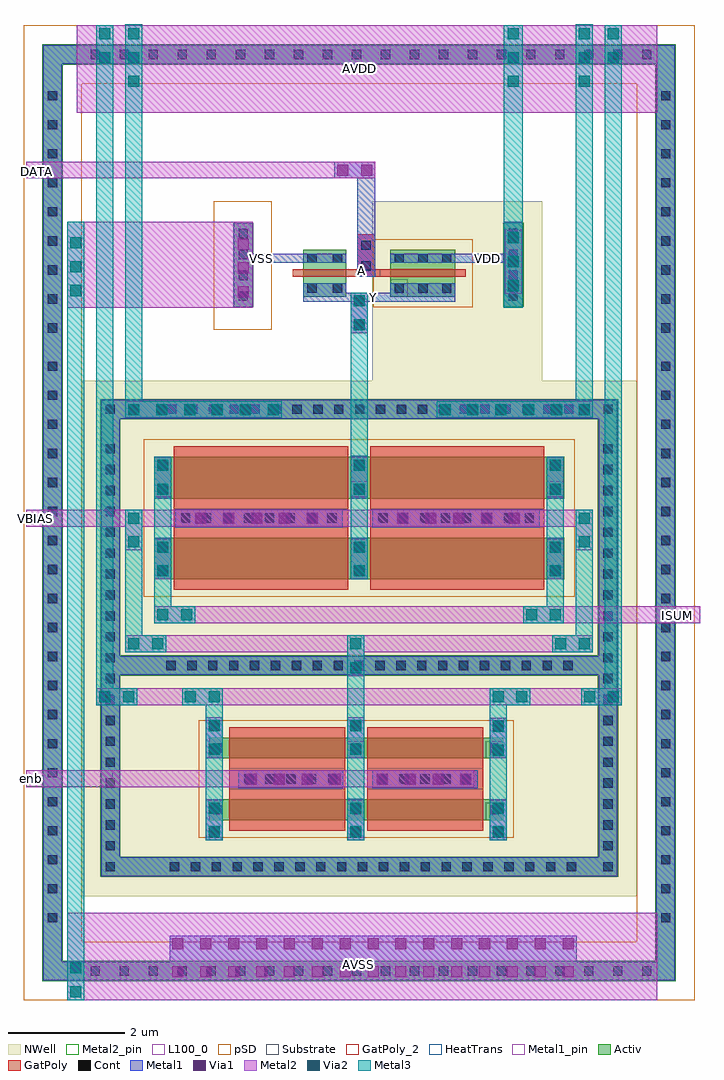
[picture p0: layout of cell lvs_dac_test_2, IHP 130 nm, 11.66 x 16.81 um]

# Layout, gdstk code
from math import pi, radians
import gdstk
lib = gdstk.Library(unit=1e-6, precision=1e-09)
def R(c, l, rs):  # rectangles x0, y0, x1, y1
    for r in rs: c.add(gdstk.rectangle(r[:2], r[2:], *l))
def A(c, l, x, y, w, h, nx, ny, dx, dy):  # array of equal rectangles
    R(c, l, [(x+i*dx, y+j*dy, x+i*dx+w, y+j*dy+h) for i in range(nx) for j in range(ny)])
Activ = (1, 0)
GatPoly = (5, 0)
GatPoly_2 = (5, 2)
Cont = (6, 0)
Metal1 = (8, 0)
Metal1_pin = (8, 2)
Metal2 = (10, 0)
Metal2_pin = (10, 2)
pSD = (14, 0)
Via1 = (19, 0)
Via2 = (29, 0)
Metal3 = (30, 0)
NWell = (31, 0)
Substrate = (40, 0)
HeatTrans = (51, 0)
L100_0 = (100, 0)

pmos = lib.new_cell('pmos')
R(pmos, Activ, [(0,0,0.3,0.3), (0,0,3.68,0.72), (3.38,0,3.68,0.3)])
R(pmos, GatPoly, [(0.34,-0.18,3.34,0.9), (0.34,-0.18,3.34,0.9)])
R(pmos, Cont, [(0.07,0.07,0.23,0.23), (3.45,0.07,3.61,0.23), (0.07,0.49,0.23,0.65), (3.45,0.49,3.61,0.65)])
R(pmos, Metal1, [(0.07,0,0.23,0.72), (0.07,0,0.23,0.72), (3.45,0,3.61,0.72), (3.45,0,3.61,0.72)])
R(pmos, pSD, [(-0.18,-0.3,3.86,1.02)])
R(pmos, NWell, [(-0.31,-0.31,3.99,1.03)])
R(pmos, Substrate, [(3.38,0,3.68,0.3)])
R(pmos, HeatTrans, [(0.34,-0.18,3.34,0.9)])
pmos.add(gdstk.Label('pmos', (1.84,0.36), layer=63, texttype=0))
pmos.add(gdstk.Label('pmos', (1.84,0.36), layer=51, texttype=0))

via_stack = lib.new_cell('via_stack')
R(via_stack, Metal1, [(-0.145,-0.35,0.145,0.35)])
R(via_stack, Metal2, [(-0.145,-0.35,0.145,0.35)])
R(via_stack, Via1, [(-0.095,-0.3,0.095,-0.11), (-0.095,0.11,0.095,0.3)])
R(via_stack, Via2, [(-0.095,-0.3,0.095,-0.11), (-0.095,0.11,0.095,0.3)])
R(via_stack, Metal3, [(-0.145,-0.35,0.145,0.35)])

via_stack_1 = lib.new_cell('via_stack$1')
R(via_stack_1, Metal1, [(-1.105,-0.145,1.105,0.145)])
R(via_stack_1, Metal2, [(-1.105,-0.145,1.105,0.145)])
A(via_stack_1, Via1, -1.055, -0.095, 0.19, 0.19, 5, 1, 0.48, 0)

pmos_1 = lib.new_cell('pmos$1')
R(pmos_1, Activ, [(0,0,0.3,0.3), (0,0,2.68,0.36), (2.38,0,2.68,0.3)])
R(pmos_1, GatPoly, [(0.34,-0.18,2.34,0.54), (0.34,-0.18,2.34,0.54)])
R(pmos_1, Cont, [(0.07,0.1,0.23,0.26), (2.45,0.1,2.61,0.26)])
R(pmos_1, Metal1, [(0.07,0,0.23,0.36), (0.07,0,0.23,0.36), (2.45,0,2.61,0.36), (2.45,0,2.61,0.36)])
R(pmos_1, pSD, [(-0.18,-0.3,2.86,0.66)])
R(pmos_1, NWell, [(-0.31,-0.31,2.99,0.67)])
R(pmos_1, Substrate, [(2.38,0,2.68,0.3)])
R(pmos_1, HeatTrans, [(0.34,-0.18,2.34,0.54)])
pmos_1.add(gdstk.Label('pmos', (1.34,0.18), layer=63, texttype=0))
pmos_1.add(gdstk.Label('pmos', (1.34,0.18), layer=51, texttype=0))

via_stack_2 = lib.new_cell('via_stack$2')
R(via_stack_2, Metal1, [(-0.865,-0.145,0.865,0.145)])
R(via_stack_2, Metal2, [(-0.865,-0.145,0.865,0.145)])
A(via_stack_2, Via1, -0.815, -0.095, 0.19, 0.19, 4, 1, 0.48, 0)

via_stack_3 = lib.new_cell('via_stack$3')
R(via_stack_3, Metal2, [(-0.145,-0.35,0.145,0.35)])
R(via_stack_3, Via2, [(-0.095,-0.3,0.095,-0.11), (-0.095,0.11,0.095,0.3)])
R(via_stack_3, Metal3, [(-0.145,-0.35,0.145,0.35)])

via_stack_4 = lib.new_cell('via_stack$4')
R(via_stack_4, Metal2, [(-0.35,-0.145,0.35,0.145)])
R(via_stack_4, Via2, [(-0.3,-0.095,-0.11,0.095), (0.11,-0.095,0.3,0.095)])
R(via_stack_4, Metal3, [(-0.35,-0.145,0.35,0.145)])

via_stack_10 = lib.new_cell('via_stack$10')
R(via_stack_10, Metal2, [(-0.145,-0.555,0.145,0.555)])
A(via_stack_10, Via2, -0.095, -0.505, 0.19, 0.19, 1, 3, 0, 0.41)
R(via_stack_10, Metal3, [(-0.145,-0.555,0.145,0.555)])

via_stack_5 = lib.new_cell('via_stack$5')
R(via_stack_5, Metal1, [(-0.145,-0.555,0.145,0.555)])
R(via_stack_5, Metal2, [(-0.145,-0.555,0.145,0.555)])
A(via_stack_5, Via1, -0.095, -0.505, 0.19, 0.19, 1, 3, 0, 0.41)
A(via_stack_5, Via2, -0.095, -0.505, 0.19, 0.19, 1, 3, 0, 0.41)
R(via_stack_5, Metal3, [(-0.145,-0.555,0.145,0.555)])

via_stack_6 = lib.new_cell('via_stack$6')
R(via_stack_6, Metal1, [(-0.145,-0.555,0.145,0.555)])
R(via_stack_6, Metal2, [(-0.145,-0.555,0.145,0.555)])
A(via_stack_6, Via1, -0.095, -0.505, 0.19, 0.19, 1, 3, 0, 0.41)

via_stack_7 = lib.new_cell('via_stack$7')
R(via_stack_7, Metal2, [(-0.145,-0.555,0.145,0.555)])
A(via_stack_7, Via2, -0.095, -0.505, 0.19, 0.19, 1, 3, 0, 0.41)
R(via_stack_7, Metal3, [(-0.145,-0.555,0.145,0.555)])

via_stack_8 = lib.new_cell('via_stack$8')
R(via_stack_8, Metal1, [(-0.35,-0.145,0.35,0.145)])
R(via_stack_8, Metal2, [(-0.35,-0.145,0.35,0.145)])
R(via_stack_8, Via1, [(-0.3,-0.095,-0.11,0.095), (0.11,-0.095,0.3,0.095)])

pmos_2 = lib.new_cell('pmos$2')
R(pmos_2, Activ, [(0,0,0.3,0.3), (0,0,0.81,1.12), (0.51,0,0.81,0.3)])
R(pmos_2, GatPoly, [(0.34,-0.18,0.47,1.3), (0.34,-0.18,0.47,1.3)])
A(pmos_2, Cont, 0.07, 0.07, 0.16, 0.16, 1, 3, 0, 0.41)
A(pmos_2, Cont, 0.58, 0.07, 0.16, 0.16, 1, 3, 0, 0.41)
R(pmos_2, Metal1, [(0.07,0,0.23,1.12), (0.07,0,0.23,1.12), (0.58,0,0.74,1.12), (0.58,0,0.74,1.12)])
R(pmos_2, pSD, [(-0.18,-0.3,0.99,1.42)])
R(pmos_2, NWell, [(-0.31,-0.31,1.12,1.43)])
R(pmos_2, Substrate, [(0.51,0,0.81,0.3)])
R(pmos_2, HeatTrans, [(0.34,-0.18,0.47,1.3)])
pmos_2.add(gdstk.Label('pmos', (0.405,0.56), layer=63, texttype=0))
pmos_2.add(gdstk.Label('pmos', (0.405,0.56), layer=51, texttype=0))

nmos = lib.new_cell('nmos')
R(nmos, Activ, [(0,0,0.3,0.3), (0,0,0.81,0.74), (0.51,0,0.81,0.3)])
R(nmos, GatPoly, [(0.34,-0.18,0.47,0.92)])
R(nmos, GatPoly_2, [(0.34,-0.18,0.47,0.92)])
R(nmos, Cont, [(0.07,0.07,0.23,0.23), (0.58,0.07,0.74,0.23), (0.07,0.51,0.23,0.67), (0.58,0.51,0.74,0.67)])
R(nmos, Metal1, [(0.07,0,0.23,0.74), (0.58,0,0.74,0.74)])
R(nmos, Metal1_pin, [(0.07,0,0.23,0.74), (0.58,0,0.74,0.74)])
R(nmos, HeatTrans, [(0.34,-0.18,0.47,0.92)])
nmos.add(gdstk.Label('nmos', (0.405,0.37), layer=63, texttype=0))
nmos.add(gdstk.Label('nmos', (0.405,0.37), layer=51, texttype=0))

via_stack_9 = lib.new_cell('via_stack$9')
R(via_stack_9, Metal1, [(-1.345,-0.145,1.345,0.145)])
R(via_stack_9, Metal2, [(-1.345,-0.145,1.345,0.145)])
A(via_stack_9, Via1, -1.295, -0.095, 0.19, 0.19, 6, 1, 0.48, 0)
A(via_stack_9, Via2, -1.295, -0.095, 0.19, 0.19, 6, 1, 0.48, 0)
R(via_stack_9, Metal3, [(-1.345,-0.145,1.345,0.145)])

via_stack_11 = lib.new_cell('via_stack$11')
R(via_stack_11, Metal1, [(-3.505,-0.385,3.505,0.385)])
R(via_stack_11, Metal2, [(-3.505,-0.385,3.505,0.385)])
A(via_stack_11, Via1, -3.455, -0.335, 0.19, 0.19, 15, 2, 0.48, 0.48)

lvs_dac_test_2 = lib.new_cell('lvs_dac_test_2')
A(lvs_dac_test_2, Activ, 10.53, 0.061, 0.35, 0.37, 1, 3, 0, 0.36)
R(lvs_dac_test_2, Activ, [(3.59,-9.76,5.055,-9.41), (4.685,-9.76,5.055,-9.41), (5.045,-9.76,5.415,-9.41), (5.045,-9.76,5.415,-9.41), (5.405,-9.76,5.775,-9.41), (5.405,-9.76,5.775,-9.41), (5.765,-9.76,6.135,-9.41), (5.765,-9.76,6.135,-9.41), (6.125,-9.76,6.495,-9.41), (6.125,-9.76,6.495,-9.41), (6.485,-9.76,6.855,-9.41), (6.485,-9.76,6.855,-9.41), (6.845,-9.76,7.215,-9.41), (6.845,-9.76,7.215,-9.41), (7.205,-9.76,7.575,-9.41), (7.205,-9.76,7.575,-9.41), (7.565,-9.76,7.935,-9.41), (7.565,-9.76,7.935,-9.41), (7.925,-9.76,8.295,-9.41), (7.925,-9.76,8.295,-9.41), (8.285,-9.76,8.655,-9.41), (8.285,-9.76,8.655,-9.41), (8.645,-9.76,9.015,-9.41), (8.645,-9.76,9.015,-9.41), (9.005,-9.76,9.375,-9.41), (9.005,-9.76,9.375,-9.41), (9.365,-9.76,9.735,-9.41), (9.365,-9.76,9.735,-9.41), (9.725,-9.76,10.095,-9.41), (9.725,-9.76,10.095,-9.41), (10.085,-9.76,10.455,-9.41), (10.085,-9.76,10.455,-9.41), (10.445,-9.76,10.815,-9.41), (10.445,-9.76,10.815,-9.41), (10.805,-9.76,11.175,-9.41), (10.805,-9.76,11.175,-9.41), (11.165,-9.76,11.535,-9.41), (11.165,-9.76,11.535,-9.41), (11.525,-9.76,11.895,-9.41), (11.525,-9.76,12.51,-9.41), (3.94,-6.295,4.995,-5.945), (4.625,-6.295,4.995,-5.945), (4.985,-6.295,5.355,-5.945), (4.985,-6.295,5.355,-5.945), (5.345,-6.295,5.715,-5.945), (5.345,-6.295,5.715,-5.945), (5.705,-6.295,6.075,-5.945), (5.705,-6.295,6.075,-5.945), (6.065,-6.295,6.435,-5.945), (6.065,-6.295,6.435,-5.945), (6.425,-6.295,6.795,-5.945), (6.425,-6.295,6.795,-5.945), (6.785,-6.295,7.155,-5.945), (6.785,-6.295,7.155,-5.945), (7.145,-6.295,7.515,-5.945), (7.145,-6.295,7.515,-5.945), (7.505,-6.295,7.875,-5.945), (7.505,-6.295,7.875,-5.945), (7.865,-6.295,8.235,-5.945), (7.865,-6.295,8.235,-5.945), (8.225,-6.295,8.595,-5.945), (8.225,-6.295,8.595,-5.945), (8.585,-6.295,8.955,-5.945), (8.585,-6.295,8.955,-5.945), (8.945,-6.295,9.315,-5.945), (8.945,-6.295,9.315,-5.945), (9.305,-6.295,9.675,-5.945), (9.305,-6.295,9.675,-5.945), (9.665,-6.295,10.035,-5.945), (9.665,-6.295,10.035,-5.945), (10.025,-6.295,10.395,-5.945), (10.025,-6.295,10.395,-5.945), (10.385,-6.295,10.755,-5.945), (10.385,-6.295,10.755,-5.945), (10.745,-6.295,11.115,-5.945), (10.745,-6.295,11.115,-5.945), (11.105,-6.295,11.475,-5.945), (11.105,-6.295,11.475,-5.945), (11.465,-6.295,11.835,-5.945), (11.465,-6.295,12.51,-5.945), (3.59,-1.88,5.005,-1.53), (4.635,-1.88,5.005,-1.53), (4.995,-1.88,5.365,-1.53), (4.995,-1.88,5.365,-1.53), (5.355,-1.88,5.725,-1.53), (5.355,-1.88,5.725,-1.53), (5.715,-1.88,6.085,-1.53), (5.715,-1.88,6.085,-1.53), (6.075,-1.88,6.445,-1.53), (6.075,-1.88,6.445,-1.53), (6.435,-1.88,6.805,-1.53), (6.435,-1.88,6.805,-1.53), (6.795,-1.88,7.165,-1.53), (6.795,-1.88,7.165,-1.53), (7.155,-1.88,7.525,-1.53), (7.155,-1.88,7.525,-1.53), (7.515,-1.88,7.885,-1.53), (7.515,-1.88,7.885,-1.53), (7.875,-1.88,8.245,-1.53), (7.875,-1.88,8.245,-1.53), (8.235,-1.88,8.605,-1.53), (8.235,-1.88,8.605,-1.53), (8.595,-1.88,8.965,-1.53), (8.595,-1.88,8.965,-1.53), (8.955,-1.88,9.325,-1.53), (8.955,-1.88,9.325,-1.53), (9.315,-1.88,9.685,-1.53), (9.315,-1.88,9.685,-1.53), (9.675,-1.88,10.045,-1.53), (9.675,-1.88,10.045,-1.53), (10.035,-1.88,10.405,-1.53), (10.035,-1.88,10.405,-1.53), (10.395,-1.88,10.765,-1.53), (10.395,-1.88,10.765,-1.53), (10.755,-1.88,11.125,-1.53), (10.755,-1.88,11.125,-1.53), (11.115,-1.88,11.485,-1.53), (11.115,-1.88,11.485,-1.53), (11.475,-1.88,11.845,-1.53), (11.475,-1.88,12.51,-1.53), (5.88,0.05,6.23,0.426), (10.53,0.06,10.885,1.51), (5.88,0.416,6.23,0.786), (5.88,0.776,6.23,1.146), (5.88,1.136,6.23,1.5)])
A(lvs_dac_test_2, GatPoly, 5.97, -8.23, 0.37, 0.31, 5, 1, 0.36, 0)
A(lvs_dac_test_2, GatPoly, 8.28, -8.23, 0.37, 0.31, 5, 1, 0.36, 0)
A(lvs_dac_test_2, GatPoly, 4.88, -3.735, 0.37, 0.31, 8, 1, 0.36, 0)
A(lvs_dac_test_2, GatPoly, 8.275, -3.735, 0.37, 0.31, 8, 1, 0.36, 0)
R(lvs_dac_test_2, GatPoly, [(5.81,-8.245,7.81,-7.9), (8.19,-8.245,10.19,-7.9), (4.86,-3.735,7.86,-3.425), (8.24,-3.735,11.24,-3.425), (8.015,0.576,8.325,0.946), (8.015,0.936,8.325,1.31)])
R(lvs_dac_test_2, GatPoly_2, [(6.91,0.575,9.889,0.705)])
A(lvs_dac_test_2, Cont, 3.425, -11.46, 0.16, 0.16, 20, 2, 0.5, 15.785)
A(lvs_dac_test_2, Cont, 2.69, -10.545, 0.16, 0.16, 1, 20, 0, 0.5)
A(lvs_dac_test_2, Cont, 13.25, -10.545, 0.16, 0.16, 1, 20, 0, 0.5)
A(lvs_dac_test_2, Cont, 3.685, -9.665, 0.16, 0.16, 1, 21, 0, 0.36)
A(lvs_dac_test_2, Cont, 12.255, -9.665, 0.16, 0.16, 1, 21, 0, 0.36)
A(lvs_dac_test_2, Cont, 6.075, -8.155, 0.16, 0.16, 5, 1, 0.36, 0)
A(lvs_dac_test_2, Cont, 8.385, -8.155, 0.16, 0.16, 5, 1, 0.36, 0)
A(lvs_dac_test_2, Cont, 4.985, -3.66, 0.16, 0.16, 8, 1, 0.36, 0)
A(lvs_dac_test_2, Cont, 8.38, -3.66, 0.16, 0.16, 8, 1, 0.36, 0)
A(lvs_dac_test_2, Cont, 2.69, -0.385, 0.16, 0.16, 1, 9, 0, 0.5)
A(lvs_dac_test_2, Cont, 13.25, -0.385, 0.16, 0.16, 1, 9, 0, 0.5)
A(lvs_dac_test_2, Cont, 5.975, 0.16, 0.16, 0.16, 1, 4, 0, 0.36)
A(lvs_dac_test_2, Cont, 10.625, 0.165, 0.16, 0.16, 1, 4, 0, 0.36)
R(lvs_dac_test_2, Cont, [(4.79,-9.665,4.95,-9.505), (4.79,-9.665,4.95,-9.505), (5.15,-9.665,5.31,-9.505), (5.15,-9.665,5.31,-9.505), (5.51,-9.665,5.67,-9.505), (5.51,-9.665,5.67,-9.505), (5.87,-9.665,6.03,-9.505), (5.87,-9.665,6.03,-9.505), (6.23,-9.665,6.39,-9.505), (6.23,-9.665,6.39,-9.505), (6.59,-9.665,6.75,-9.505), (6.59,-9.665,6.75,-9.505), (6.95,-9.665,7.11,-9.505), (6.95,-9.665,7.11,-9.505), (7.31,-9.665,7.47,-9.505), (7.31,-9.665,7.47,-9.505), (7.67,-9.665,7.83,-9.505), (7.67,-9.665,7.83,-9.505), (8.03,-9.665,8.19,-9.505), (8.03,-9.665,8.19,-9.505), (8.39,-9.665,8.55,-9.505), (8.39,-9.665,8.55,-9.505), (8.75,-9.665,8.91,-9.505), (8.75,-9.665,8.91,-9.505), (9.11,-9.665,9.27,-9.505), (9.11,-9.665,9.27,-9.505), (9.47,-9.665,9.63,-9.505), (9.47,-9.665,9.63,-9.505), (9.83,-9.665,9.99,-9.505), (9.83,-9.665,9.99,-9.505), (10.19,-9.665,10.35,-9.505), (10.19,-9.665,10.35,-9.505), (10.55,-9.665,10.71,-9.505), (10.55,-9.665,10.71,-9.505), (10.91,-9.665,11.07,-9.505), (10.91,-9.665,11.07,-9.505), (11.27,-9.665,11.43,-9.505), (11.27,-9.665,11.43,-9.505), (11.63,-9.665,11.79,-9.505), (11.63,-9.665,11.79,-9.505), (12.255,-9.665,12.415,-9.505), (12.255,-9.665,12.415,-9.505), (4.73,-6.2,4.89,-6.04), (4.73,-6.2,4.89,-6.04), (5.09,-6.2,5.25,-6.04), (5.09,-6.2,5.25,-6.04), (5.45,-6.2,5.61,-6.04), (5.45,-6.2,5.61,-6.04), (5.81,-6.2,5.97,-6.04), (5.81,-6.2,5.97,-6.04), (6.17,-6.2,6.33,-6.04), (6.17,-6.2,6.33,-6.04), (6.53,-6.2,6.69,-6.04), (6.53,-6.2,6.69,-6.04), (6.89,-6.2,7.05,-6.04), (6.89,-6.2,7.05,-6.04), (7.25,-6.2,7.41,-6.04), (7.25,-6.2,7.41,-6.04), (7.61,-6.2,7.77,-6.04), (7.61,-6.2,7.77,-6.04), (7.97,-6.2,8.13,-6.04), (7.97,-6.2,8.13,-6.04), (8.33,-6.2,8.49,-6.04), (8.33,-6.2,8.49,-6.04), (8.69,-6.2,8.85,-6.04), (8.69,-6.2,8.85,-6.04), (9.05,-6.2,9.21,-6.04), (9.05,-6.2,9.21,-6.04), (9.41,-6.2,9.57,-6.04), (9.41,-6.2,9.57,-6.04), (9.77,-6.2,9.93,-6.04), (9.77,-6.2,9.93,-6.04), (10.13,-6.2,10.29,-6.04), (10.13,-6.2,10.29,-6.04), (10.49,-6.2,10.65,-6.04), (10.49,-6.2,10.65,-6.04), (10.85,-6.2,11.01,-6.04), (10.85,-6.2,11.01,-6.04), (11.21,-6.2,11.37,-6.04), (11.21,-6.2,11.37,-6.04), (11.57,-6.2,11.73,-6.04), (11.57,-6.2,11.73,-6.04), (3.685,-1.785,3.845,-1.625), (4.74,-1.785,4.9,-1.625), (4.74,-1.785,4.9,-1.625), (5.1,-1.785,5.26,-1.625), (5.1,-1.785,5.26,-1.625), (5.46,-1.785,5.62,-1.625), (5.46,-1.785,5.62,-1.625), (5.82,-1.785,5.98,-1.625), (5.82,-1.785,5.98,-1.625), (6.18,-1.785,6.34,-1.625), (6.18,-1.785,6.34,-1.625), (6.54,-1.785,6.7,-1.625), (6.54,-1.785,6.7,-1.625), (6.9,-1.785,7.06,-1.625), (6.9,-1.785,7.06,-1.625), (7.26,-1.785,7.42,-1.625), (7.26,-1.785,7.42,-1.625), (7.62,-1.785,7.78,-1.625), (7.62,-1.785,7.78,-1.625), (7.98,-1.785,8.14,-1.625), (7.98,-1.785,8.14,-1.625), (8.34,-1.785,8.5,-1.625), (8.34,-1.785,8.5,-1.625), (8.7,-1.785,8.86,-1.625), (8.7,-1.785,8.86,-1.625), (9.06,-1.785,9.22,-1.625), (9.06,-1.785,9.22,-1.625), (9.42,-1.785,9.58,-1.625), (9.42,-1.785,9.58,-1.625), (9.78,-1.785,9.94,-1.625), (9.78,-1.785,9.94,-1.625), (10.14,-1.785,10.3,-1.625), (10.14,-1.785,10.3,-1.625), (10.5,-1.785,10.66,-1.625), (10.5,-1.785,10.66,-1.625), (10.86,-1.785,11.02,-1.625), (10.86,-1.785,11.02,-1.625), (11.22,-1.785,11.38,-1.625), (11.22,-1.785,11.38,-1.625), (11.58,-1.785,11.74,-1.625), (11.58,-1.785,11.74,-1.625), (12.26,-1.785,12.42,-1.625), (8.09,0.68,8.25,0.84), (8.09,1.04,8.25,1.2)])
A(lvs_dac_test_2, Metal1, 5.97, -8.23, 0.37, 0.31, 5, 1, 0.36, 0)
A(lvs_dac_test_2, Metal1, 8.28, -8.23, 0.37, 0.31, 5, 1, 0.36, 0)
A(lvs_dac_test_2, Metal1, 4.525, -3.935, 0.29, 0.02, 3, 2, 3.38, 0.69)
A(lvs_dac_test_2, Metal1, 4.88, -3.735, 0.37, 0.31, 8, 1, 0.36, 0)
A(lvs_dac_test_2, Metal1, 8.275, -3.735, 0.37, 0.31, 8, 1, 0.36, 0)
R(lvs_dac_test_2, Metal1, [(3.605,-9.745,5.07,-9.425), (4.67,-9.745,5.07,-9.425), (5.03,-9.745,5.43,-9.425), (5.03,-9.745,5.43,-9.425), (5.39,-9.745,5.79,-9.425), (5.39,-9.745,5.79,-9.425), (5.75,-9.745,6.15,-9.425), (5.75,-9.745,6.15,-9.425), (6.11,-9.745,6.51,-9.425), (6.11,-9.745,6.51,-9.425), (6.47,-9.745,6.87,-9.425), (6.47,-9.745,6.87,-9.425), (6.83,-9.745,7.23,-9.425), (6.83,-9.745,7.23,-9.425), (7.19,-9.745,7.59,-9.425), (7.19,-9.745,7.59,-9.425), (7.55,-9.745,7.95,-9.425), (7.55,-9.745,7.95,-9.425), (7.91,-9.745,8.31,-9.425), (7.91,-9.745,8.31,-9.425), (8.27,-9.745,8.67,-9.425), (8.27,-9.745,8.67,-9.425), (8.63,-9.745,9.03,-9.425), (8.63,-9.745,9.03,-9.425), (8.99,-9.745,9.39,-9.425), (8.99,-9.745,9.39,-9.425), (9.35,-9.745,9.75,-9.425), (9.35,-9.745,9.75,-9.425), (9.71,-9.745,10.11,-9.425), (9.71,-9.745,10.11,-9.425), (10.07,-9.745,10.47,-9.425), (10.07,-9.745,10.47,-9.425), (10.43,-9.745,10.83,-9.425), (10.43,-9.745,10.83,-9.425), (10.79,-9.745,11.19,-9.425), (10.79,-9.745,11.19,-9.425), (11.15,-9.745,11.55,-9.425), (11.15,-9.745,11.55,-9.425), (11.51,-9.745,11.91,-9.425), (11.51,-9.745,12.495,-9.425), (5.41,-8.43,5.7,-8.425), (7.85,-8.43,8.14,-8.41), (10.3,-8.43,10.59,-8.425), (5.41,-7.72,5.7,-7.71), (7.85,-7.72,8.14,-7.7), (3.925,-6.28,5.01,-5.96), (4.61,-6.28,5.01,-5.96), (4.97,-6.28,5.37,-5.96), (4.97,-6.28,5.37,-5.96), (5.33,-6.28,5.73,-5.96), (5.33,-6.28,5.73,-5.96), (5.69,-6.28,6.09,-5.96), (5.69,-6.28,6.09,-5.96), (6.05,-6.28,6.45,-5.96), (6.05,-6.28,6.45,-5.96), (6.41,-6.28,6.81,-5.96), (6.41,-6.28,6.81,-5.96), (6.77,-6.28,7.17,-5.96), (6.77,-6.28,7.17,-5.96), (7.13,-6.28,7.53,-5.96), (7.13,-6.28,7.53,-5.96), (7.49,-6.28,7.89,-5.96), (7.49,-6.28,7.89,-5.96), (7.85,-6.28,8.25,-5.96), (7.85,-6.28,8.25,-5.96), (8.21,-6.28,8.61,-5.96), (8.21,-6.28,8.61,-5.96), (8.57,-6.28,8.97,-5.96), (8.57,-6.28,8.97,-5.96), (8.93,-6.28,9.33,-5.96), (8.93,-6.28,9.33,-5.96), (9.29,-6.28,9.69,-5.96), (9.29,-6.28,9.69,-5.96), (9.65,-6.28,10.05,-5.96), (9.65,-6.28,10.05,-5.96), (10.01,-6.28,10.41,-5.96), (10.01,-6.28,10.41,-5.96), (10.37,-6.28,10.77,-5.96), (10.37,-6.28,10.77,-5.96), (10.73,-6.28,11.13,-5.96), (10.73,-6.28,11.13,-5.96), (11.09,-6.28,11.49,-5.96), (11.09,-6.28,11.49,-5.96), (11.45,-6.28,11.85,-5.96), (11.45,-6.28,12.175,-5.96), (4.525,-2.545,4.815,-2.525), (7.905,-2.525,8.195,-2.505), (3.605,-1.865,5.02,-1.545), (4.62,-1.865,5.02,-1.545), (4.98,-1.865,5.38,-1.545), (4.98,-1.865,5.38,-1.545), (5.34,-1.865,5.74,-1.545), (5.34,-1.865,5.74,-1.545), (5.7,-1.865,6.1,-1.545), (5.7,-1.865,6.1,-1.545), (6.06,-1.865,6.46,-1.545), (6.06,-1.865,6.46,-1.545), (6.42,-1.865,6.82,-1.545), (6.42,-1.865,6.82,-1.545), (6.78,-1.865,7.18,-1.545), (6.78,-1.865,7.18,-1.545), (7.14,-1.865,7.54,-1.545), (7.14,-1.865,7.54,-1.545), (7.5,-1.865,7.9,-1.545), (7.5,-1.865,7.9,-1.545), (7.86,-1.865,8.26,-1.545), (7.86,-1.865,8.26,-1.545), (8.22,-1.865,8.62,-1.545), (8.22,-1.865,8.62,-1.545), (8.58,-1.865,8.98,-1.545), (8.58,-1.865,8.98,-1.545), (8.94,-1.865,9.34,-1.545), (8.94,-1.865,9.34,-1.545), (9.3,-1.865,9.7,-1.545), (9.3,-1.865,9.7,-1.545), (9.66,-1.865,10.06,-1.545), (9.66,-1.865,10.06,-1.545), (10.02,-1.865,10.42,-1.545), (10.02,-1.865,10.42,-1.545), (10.38,-1.865,10.78,-1.545), (10.38,-1.865,10.78,-1.545), (10.74,-1.865,11.14,-1.545), (10.74,-1.865,11.14,-1.545), (11.1,-1.865,11.5,-1.545), (11.1,-1.865,11.5,-1.545), (11.46,-1.865,11.86,-1.545), (11.46,-1.865,12.495,-1.545), (5.895,0.04,6.215,0.441), (5.895,0.04,6.22,1.52), (10.545,0.045,10.865,0.446), (7.09,0.145,9.71,0.305), (5.895,0.401,6.215,0.801), (10.545,0.406,10.865,0.806), (8.015,0.575,8.325,0.946), (5.895,0.761,6.215,1.161), (10.545,0.766,10.865,1.166), (10.47,0.815,10.865,0.975), (8.015,0.936,8.325,1.31), (10.545,1.126,10.865,1.525)])
R(lvs_dac_test_2, Metal1_pin, [(7.09,0.145,9.71,0.305), (7.09,0.145,9.71,0.305), (6.345,0.815,7.829,0.975), (8.59,0.815,10.475,0.975)])
R(lvs_dac_test_2, Metal2, [(3.025,-11.88,13.185,-10.38), (3.025,0.04,6.22,1.52), (3.185,3.405,13.185,4.905)])
R(lvs_dac_test_2, Metal2_pin, [(3.025,-11.88,13.185,-10.38), (2.315,-8.21,3.805,-7.92), (12.44,-5.39,13.93,-5.1), (2.315,-3.725,3.805,-3.435), (2.315,2.27,2.935,2.56), (3.185,3.405,13.185,4.905)])
R(lvs_dac_test_2, pSD, [(5.29,-9.085,10.71,-7.06), (4.34,-4.935,11.76,-2.225), (5.545,-0.335,6.545,0.796), (5.545,0.026,6.545,1.156), (5.545,0.386,6.545,1.516), (5.545,0.746,6.545,1.88)])
R(lvs_dac_test_2, NWell, [(3.27,-10.095,12.83,-1.215), (4.315,-10.095,5.445,-9.095), (4.315,-10.095,5.445,-9.095), (4.675,-10.095,5.805,-9.095), (4.675,-10.095,5.805,-9.095), (5.035,-10.095,6.165,-9.095), (5.035,-10.095,6.165,-9.095), (5.395,-10.095,6.525,-9.095), (5.395,-10.095,6.525,-9.095), (5.755,-10.095,6.885,-9.095), (5.755,-10.095,6.885,-9.095), (6.115,-10.095,7.245,-9.095), (6.115,-10.095,7.245,-9.095), (6.475,-10.095,7.605,-9.095), (6.475,-10.095,7.605,-9.095), (6.835,-10.095,7.965,-9.095), (6.835,-10.095,7.965,-9.095), (7.195,-10.095,8.325,-9.095), (7.195,-10.095,8.325,-9.095), (7.555,-10.095,8.685,-9.095), (7.555,-10.095,8.685,-9.095), (7.915,-10.095,9.045,-9.095), (7.915,-10.095,9.045,-9.095), (8.275,-10.095,9.405,-9.095), (8.275,-10.095,9.405,-9.095), (8.635,-10.095,9.765,-9.095), (8.635,-10.095,9.765,-9.095), (8.995,-10.095,10.125,-9.095), (8.995,-10.095,10.125,-9.095), (9.355,-10.095,10.485,-9.095), (9.355,-10.095,10.485,-9.095), (9.715,-10.095,10.845,-9.095), (9.715,-10.095,10.845,-9.095), (10.075,-10.095,11.205,-9.095), (10.075,-10.095,11.205,-9.095), (10.435,-10.095,11.565,-9.095), (10.435,-10.095,11.565,-9.095), (10.795,-10.095,11.925,-9.095), (10.795,-10.095,11.925,-9.095), (11.155,-10.095,12.285,-9.095), (11.155,-10.095,12.285,-9.095), (5.16,-9.095,10.84,-7.05), (4.255,-6.63,5.385,-5.63), (4.255,-6.63,5.385,-5.63), (4.615,-6.63,5.745,-5.63), (4.615,-6.63,5.745,-5.63), (4.975,-6.63,6.105,-5.63), (4.975,-6.63,6.105,-5.63), (5.335,-6.63,6.465,-5.63), (5.335,-6.63,6.465,-5.63), (5.695,-6.63,6.825,-5.63), (5.695,-6.63,6.825,-5.63), (6.055,-6.63,7.185,-5.63), (6.055,-6.63,7.185,-5.63), (6.415,-6.63,7.545,-5.63), (6.415,-6.63,7.545,-5.63), (6.775,-6.63,7.905,-5.63), (6.775,-6.63,7.905,-5.63), (7.135,-6.63,8.265,-5.63), (7.135,-6.63,8.265,-5.63), (7.495,-6.63,8.625,-5.63), (7.495,-6.63,8.625,-5.63), (7.855,-6.63,8.985,-5.63), (7.855,-6.63,8.985,-5.63), (8.215,-6.63,9.345,-5.63), (8.215,-6.63,9.345,-5.63), (8.575,-6.63,9.705,-5.63), (8.575,-6.63,9.705,-5.63), (8.935,-6.63,10.065,-5.63), (8.935,-6.63,10.065,-5.63), (9.295,-6.63,10.425,-5.63), (9.295,-6.63,10.425,-5.63), (9.655,-6.63,10.785,-5.63), (9.655,-6.63,10.785,-5.63), (10.015,-6.63,11.145,-5.63), (10.015,-6.63,11.145,-5.63), (10.375,-6.63,11.505,-5.63), (10.375,-6.63,11.505,-5.63), (10.735,-6.63,11.865,-5.63), (10.735,-6.63,11.865,-5.63), (11.095,-6.63,12.225,-5.63), (11.095,-6.63,12.225,-5.63), (4.21,-4.945,11.89,-2.215), (4.265,-2.215,5.395,-1.215), (4.265,-2.215,5.395,-1.215), (4.625,-2.215,5.755,-1.215), (4.625,-2.215,5.755,-1.215), (4.985,-2.215,6.115,-1.215), (4.985,-2.215,6.115,-1.215), (5.345,-2.215,6.475,-1.215), (5.345,-2.215,6.475,-1.215), (5.705,-2.215,6.835,-1.215), (5.705,-2.215,6.835,-1.215), (6.065,-2.215,7.195,-1.215), (6.065,-2.215,7.195,-1.215), (6.425,-2.215,7.555,-1.215), (6.425,-2.215,7.555,-1.215), (6.785,-2.215,7.915,-1.215), (6.785,-2.215,7.915,-1.215), (7.145,-2.215,8.275,-1.215), (7.145,-2.215,8.275,-1.215), (7.505,-2.215,8.635,-1.215), (7.505,-2.215,8.635,-1.215), (7.865,-2.215,8.995,-1.215), (7.865,-2.215,8.995,-1.215), (8.225,-2.215,9.355,-1.215), (8.225,-2.215,9.355,-1.215), (8.585,-2.215,9.715,-1.215), (8.585,-2.215,9.715,-1.215), (8.945,-2.215,10.075,-1.215), (8.945,-2.215,10.075,-1.215), (9.305,-2.215,10.435,-1.215), (9.305,-2.215,10.435,-1.215), (9.665,-2.215,10.795,-1.215), (9.665,-2.215,10.795,-1.215), (10.025,-2.215,11.155,-1.215), (10.025,-2.215,11.155,-1.215), (10.385,-2.215,11.515,-1.215), (10.385,-2.215,11.515,-1.215), (10.745,-2.215,11.875,-1.215), (10.745,-2.215,11.875,-1.215), (11.105,-2.215,12.235,-1.215), (11.105,-2.215,12.235,-1.215), (8.28,-1.215,11.205,1.88), (8.28,-0.33,11.205,1.88), (10.195,-0.33,11.19,0.801), (10.195,0.031,11.196,1.161), (10.195,0.391,11.196,1.521), (10.195,0.751,11.196,1.88)])
R(lvs_dac_test_2, L100_0, [(7.159,0.305,7.321,0.467), (7.159,0.305,7.321,0.467), (7.599,0.305,7.761,0.467), (7.599,0.305,7.761,0.467), (8.659,0.305,8.821,0.467), (8.659,0.305,8.821,0.467), (9.069,0.305,9.231,0.467), (9.069,0.305,9.231,0.467), (9.479,0.305,9.641,0.467), (9.479,0.305,9.641,0.467), (7.159,0.815,7.321,0.977), (7.159,0.815,7.321,0.977), (7.599,0.815,7.761,0.977), (7.599,0.815,7.761,0.977), (8.659,0.815,8.821,0.977), (8.659,0.815,8.821,0.977), (9.069,0.815,9.231,0.977), (9.069,0.815,9.231,0.977), (9.479,0.815,9.641,0.977), (9.479,0.815,9.641,0.977)])
lvs_dac_test_2.add(gdstk.FlexPath([(12.335,-1.53),(12.335,-9.76)], 0.35, ends="flush", simple_path=True, layer=1, datatype=0))  # Activ
lvs_dac_test_2.add(gdstk.FlexPath([(3.765,-1.53),(3.765,-9.76)], 0.35, ends="flush", simple_path=True, layer=1, datatype=0))  # Activ
lvs_dac_test_2.add(gdstk.FlexPath([(13.33,-11.38),(13.33,4.405),(2.77,4.405),(2.77,-11.38),(13.505,-11.38)], 0.35, ends="flush", simple_path=True, layer=1, datatype=0))  # Activ
lvs_dac_test_2.add(gdstk.FlexPath([(8.01,0.64),(8.415,0.64)], 0.13, ends="flush", simple_path=True, layer=5, datatype=0))  # GatPoly
lvs_dac_test_2.add(gdstk.FlexPath([(8.17,0.575),(8.17,2.56)], 0.31, ends="flush", simple_path=True, layer=8, datatype=0))  # Metal1
lvs_dac_test_2.add(gdstk.FlexPath([(7.11,0.895),(6.345,0.895)], 0.16, ends="flush", simple_path=True, layer=8, datatype=0))  # Metal1
lvs_dac_test_2.add(gdstk.FlexPath([(7.11,0.895),(6.345,0.895)], 0.16, ends="flush", simple_path=True, layer=8, datatype=0))  # Metal1
lvs_dac_test_2.add(gdstk.FlexPath([(10.475,0.895),(9.71,0.895)], 0.16, ends="flush", simple_path=True, layer=8, datatype=0))  # Metal1
lvs_dac_test_2.add(gdstk.FlexPath([(6.345,0.895),(5.895,0.895)], 0.16, ends="flush", simple_path=True, layer=8, datatype=0))  # Metal1
lvs_dac_test_2.add(gdstk.FlexPath([(12.335,-1.563),(12.335,-9.745)], 0.32, ends="flush", simple_path=True, layer=8, datatype=0))  # Metal1
lvs_dac_test_2.add(gdstk.FlexPath([(3.765,-1.563),(3.765,-9.745)], 0.32, ends="flush", simple_path=True, layer=8, datatype=0))  # Metal1
lvs_dac_test_2.add(gdstk.FlexPath([(13.33,-11.38),(13.33,4.405),(2.77,4.405),(2.77,-11.38),(13.49,-11.38)], 0.32, ends="flush", simple_path=True, layer=8, datatype=0))  # Metal1
lvs_dac_test_2.add(gdstk.FlexPath([(13.33,-11.88),(13.33,4.405),(2.77,4.405),(2.77,-11.38),(13.83,-11.38)], 1, ends="flush", simple_path=True, layer=14, datatype=0))  # pSD
lvs_dac_test_2.add(gdstk.FlexPath([(2.315,-3.58),(12.075,-3.58)], 0.29, ends="flush", simple_path=True, layer=10, datatype=0))  # Metal2
lvs_dac_test_2.add(gdstk.FlexPath([(2.315,-3.58),(3.805,-3.58)], 0.29, ends="flush", simple_path=True, layer=10, datatype=0))  # Metal2
lvs_dac_test_2.add(gdstk.FlexPath([(12.44,-5.245),(13.93,-5.245)], 0.29, ends="flush", simple_path=True, layer=10, datatype=0))  # Metal2
lvs_dac_test_2.add(gdstk.FlexPath([(13.93,-5.245),(4.525,-5.245)], 0.29, ends="flush", simple_path=True, layer=10, datatype=0))  # Metal2
lvs_dac_test_2.add(gdstk.FlexPath([(10.035,-8.07),(2.315,-8.07)], 0.3, ends="flush", simple_path=True, layer=10, datatype=0))  # Metal2
lvs_dac_test_2.add(gdstk.FlexPath([(2.315,-8.065),(3.805,-8.065)], 0.29, ends="flush", simple_path=True, layer=10, datatype=0))  # Metal2
lvs_dac_test_2.add(gdstk.FlexPath([(12.075,-5.745),(4.025,-5.745)], 0.29, ends="flush", simple_path=True, layer=10, datatype=0))  # Metal2
lvs_dac_test_2.add(gdstk.FlexPath([(12.575,-6.655),(3.525,-6.655)], 0.29, ends="flush", simple_path=True, layer=10, datatype=0))  # Metal2
lvs_dac_test_2.add(gdstk.FlexPath([(2.315,2.415),(8.325,2.415)], 0.29, ends="flush", simple_path=True, layer=10, datatype=0))  # Metal2
lvs_dac_test_2.add(gdstk.FlexPath([(4.67,-2.545),(4.67,-5.39)], 0.29, ends="flush", simple_path=True, layer=30, datatype=0))  # Metal3
lvs_dac_test_2.add(gdstk.FlexPath([(11.43,-2.545),(11.43,-5.39)], 0.29, ends="flush", simple_path=True, layer=30, datatype=0))  # Metal3
lvs_dac_test_2.add(gdstk.FlexPath([(11.93,-3.435),(11.93,-5.89)], 0.29, ends="flush", simple_path=True, layer=30, datatype=0))  # Metal3
lvs_dac_test_2.add(gdstk.FlexPath([(4.17,-3.435),(4.17,-5.89)], 0.29, ends="flush", simple_path=True, layer=30, datatype=0))  # Metal3
lvs_dac_test_2.add(gdstk.FlexPath([(7.995,-9.13),(7.995,-5.6)], 0.29, ends="flush", simple_path=True, layer=30, datatype=0))  # Metal3
lvs_dac_test_2.add(gdstk.FlexPath([(10.445,-9.13),(10.445,-6.51)], 0.29, ends="flush", simple_path=True, layer=30, datatype=0))  # Metal3
lvs_dac_test_2.add(gdstk.FlexPath([(5.555,-9.13),(5.555,-6.51)], 0.29, ends="flush", simple_path=True, layer=30, datatype=0))  # Metal3
lvs_dac_test_2.add(gdstk.FlexPath([(12.43,-6.8),(12.43,4.905)], 0.29, ends="flush", simple_path=True, layer=30, datatype=0))  # Metal3
lvs_dac_test_2.add(gdstk.FlexPath([(3.67,-6.8),(3.67,4.905)], 0.29, ends="flush", simple_path=True, layer=30, datatype=0))  # Metal3
lvs_dac_test_2.add(gdstk.FlexPath([(3.17,-11.88),(3.17,1.52)], 0.29, ends="flush", simple_path=True, layer=30, datatype=0))  # Metal3
lvs_dac_test_2.add(gdstk.FlexPath([(8.05,0.305),(8.05,-4.635)], 0.29, ends="flush", simple_path=True, layer=30, datatype=0))  # Metal3
lvs_dac_test_2.add(gdstk.FlexPath([(10.705,0.045),(10.705,4.905)], 0.32, ends="flush", simple_path=True, layer=30, datatype=0))  # Metal3
lvs_dac_test_2.add(gdstk.FlexPath([(11.93,4.93),(11.93,-1.855)], 0.29, ends="flush", simple_path=True, layer=30, datatype=0))  # Metal3
lvs_dac_test_2.add(gdstk.FlexPath([(4.17,4.93),(4.17,-1.855)], 0.29, ends="flush", simple_path=True, layer=30, datatype=0))  # Metal3
lvs_dac_test_2.add(gdstk.Reference(pmos, (4.52,-4.635)))
lvs_dac_test_2.add(gdstk.Reference(pmos, (7.9,-4.635)))
lvs_dac_test_2.add(gdstk.Reference(pmos, (4.52,-3.245)))
lvs_dac_test_2.add(gdstk.Reference(pmos, (7.9,-3.245)))
lvs_dac_test_2.add(gdstk.Reference(via_stack, (8.05,-4.285)))
lvs_dac_test_2.add(gdstk.Reference(via_stack, (8.05,-2.875)))
lvs_dac_test_2.add(gdstk.Reference(via_stack, (4.67,-4.285)))
lvs_dac_test_2.add(gdstk.Reference(via_stack, (4.67,-2.875)))
lvs_dac_test_2.add(gdstk.Reference(via_stack, (11.43,-4.285)))
lvs_dac_test_2.add(gdstk.Reference(via_stack, (11.43,-2.875)))
lvs_dac_test_2.add(gdstk.Reference(via_stack_1, (9.765,-3.58)))
lvs_dac_test_2.add(gdstk.Reference(via_stack_1, (6.285,-3.58)))
lvs_dac_test_2.add(gdstk.Reference(pmos_1, (5.47,-7.72)))
lvs_dac_test_2.add(gdstk.Reference(pmos_1, (5.47,-8.785)))
lvs_dac_test_2.add(gdstk.Reference(pmos_1, (5.47,-7.72)))
lvs_dac_test_2.add(gdstk.Reference(pmos_1, (5.47,-8.785)))
lvs_dac_test_2.add(gdstk.Reference(pmos_1, (7.85,-7.72)))
lvs_dac_test_2.add(gdstk.Reference(pmos_1, (7.85,-8.785)))
lvs_dac_test_2.add(gdstk.Reference(pmos_1, (7.85,-7.72)))
lvs_dac_test_2.add(gdstk.Reference(pmos_1, (7.85,-8.785)))
lvs_dac_test_2.add(gdstk.Reference(via_stack_2, (9.17,-8.075)))
lvs_dac_test_2.add(gdstk.Reference(via_stack_2, (6.915,-8.075)))
lvs_dac_test_2.add(gdstk.Reference(via_stack_3, (11.93,-3.785)))
lvs_dac_test_2.add(gdstk.Reference(via_stack_3, (4.17,-3.785)))
lvs_dac_test_2.add(gdstk.Reference(via_stack_4, (4.875,-5.245)))
lvs_dac_test_2.add(gdstk.Reference(via_stack_4, (11.225,-5.245)))
lvs_dac_test_2.add(gdstk.Reference(via_stack, (7.995,-8.78)))
lvs_dac_test_2.add(gdstk.Reference(via_stack, (7.995,-7.36)))
lvs_dac_test_2.add(gdstk.Reference(via_stack_4, (11.725,-5.745)))
lvs_dac_test_2.add(gdstk.Reference(via_stack_4, (4.375,-5.745)))
lvs_dac_test_2.add(gdstk.Reference(via_stack_3, (7.995,-5.95)))
lvs_dac_test_2.add(gdstk.Reference(via_stack, (10.445,-8.78)))
lvs_dac_test_2.add(gdstk.Reference(via_stack, (5.555,-8.78)))
lvs_dac_test_2.add(gdstk.Reference(via_stack, (10.445,-7.37)))
lvs_dac_test_2.add(gdstk.Reference(via_stack, (5.555,-7.36)))
lvs_dac_test_2.add(gdstk.Reference(via_stack_4, (12.225,-6.655)))
lvs_dac_test_2.add(gdstk.Reference(via_stack_4, (3.875,-6.655)))
lvs_dac_test_2.add(gdstk.Reference(via_stack_3, (3.17,-11.53)))
lvs_dac_test_2.add(gdstk.Reference(via_stack_4, (10.65,-6.655)))
lvs_dac_test_2.add(gdstk.Reference(via_stack_4, (5.35,-6.655)))
lvs_dac_test_2.add(gdstk.Reference(via_stack_10, (10.705,4.35)))
lvs_dac_test_2.add(gdstk.Reference(via_stack_5, (10.705,0.835)))
lvs_dac_test_2.add(gdstk.Reference(via_stack_6, (6.055,0.73)))
lvs_dac_test_2.add(gdstk.Reference(via_stack_7, (3.17,0.75)))
lvs_dac_test_2.add(gdstk.Reference(via_stack_3, (12.43,4.555)))
lvs_dac_test_2.add(gdstk.Reference(via_stack_3, (3.67,4.555)))
lvs_dac_test_2.add(gdstk.Reference(via_stack_8, (7.975,2.415)))
lvs_dac_test_2.add(gdstk.Reference(pmos_2, (8.59,1.045), rotation=3*pi/2))
lvs_dac_test_2.add(gdstk.Reference(nmos, (7.09,1.045), rotation=3*pi/2))
lvs_dac_test_2.add(gdstk.Reference(via_stack, (8.05,-0.045)))
lvs_dac_test_2.add(gdstk.Reference(via_stack_10, (11.93,4.35)))
lvs_dac_test_2.add(gdstk.Reference(via_stack_10, (4.17,4.35)))
lvs_dac_test_2.add(gdstk.Reference(via_stack_9, (10.73,-1.71)))
lvs_dac_test_2.add(gdstk.Reference(via_stack_9, (5.37,-1.71)))
lvs_dac_test_2.add(gdstk.Reference(via_stack_11, (8.29,-11.155)))
lvs_dac_test_2.add(gdstk.Label('VSS', (6.365,0.895), layer=8, texttype=2))
lvs_dac_test_2.add(gdstk.Label('VDD', (10.255,0.895), layer=8, texttype=2))
lvs_dac_test_2.add(gdstk.Label('Y', (8.29,0.225), layer=8, texttype=2))
lvs_dac_test_2.add(gdstk.Label('A', (8.09,0.69), layer=5, texttype=2))
lvs_dac_test_2.add(gdstk.Label('AVSS', (8.035,-11.27), layer=10, texttype=2))
lvs_dac_test_2.add(gdstk.Label('VBIAS', (2.485,-3.58), layer=10, texttype=2))
lvs_dac_test_2.add(gdstk.Label('ISUM', (13.535,-5.25), layer=10, texttype=2))
lvs_dac_test_2.add(gdstk.Label('enb', (2.4,-8.065), layer=10, texttype=2))
lvs_dac_test_2.add(gdstk.Label('DATA', (2.5,2.395), layer=10, texttype=2))
lvs_dac_test_2.add(gdstk.Label('AVDD', (8.06,4.16), layer=10, texttype=2))

lib.write_gds('lvs_dac_test_2.gds')
